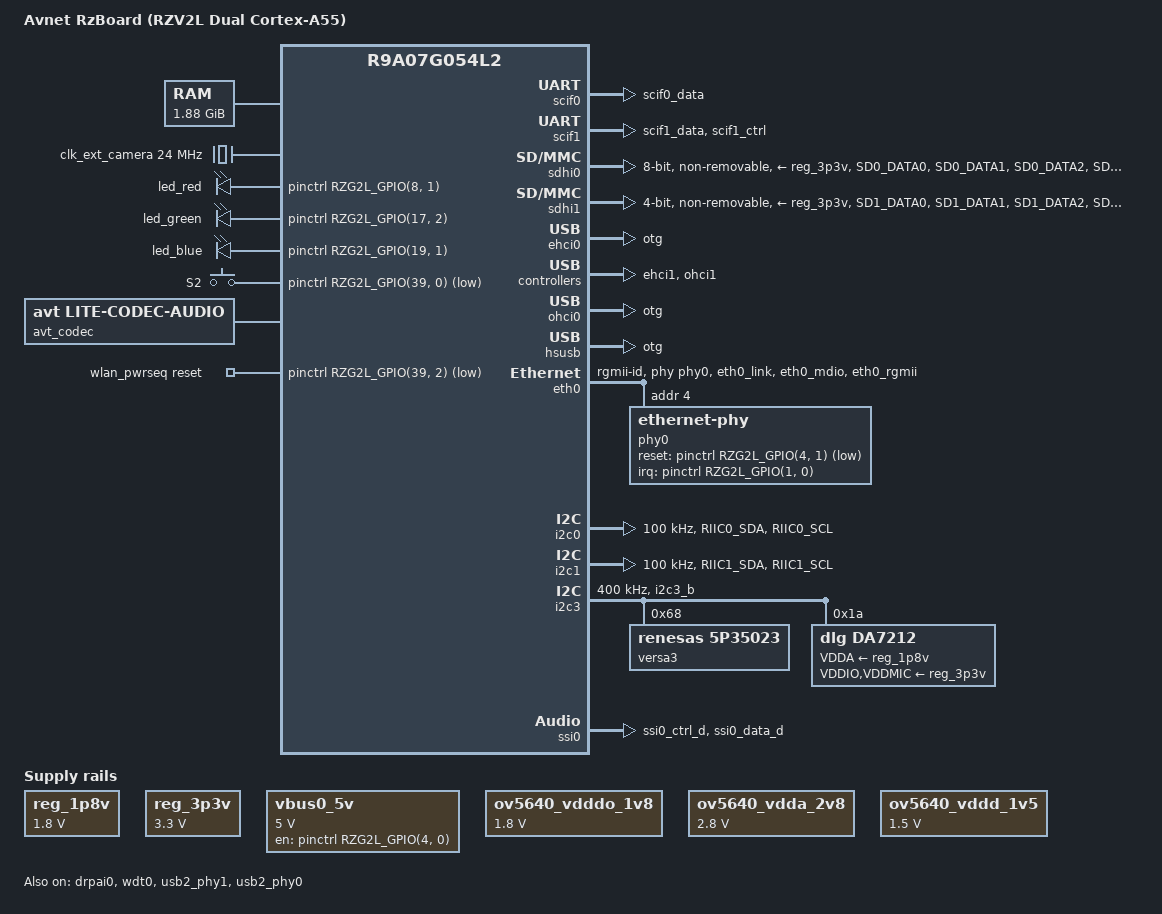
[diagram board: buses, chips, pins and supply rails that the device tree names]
// SPDX-License-Identifier: GPL-2.0
/*
 * Device Tree Source for the Avnet RzBoard (RZV2L Dual Cortex-A55)
 *
 * Copyright (C) 2022 Avnet Corp.
 */

/dts-v1/;

#include "r9a07g054l2.dtsi"
#include <dt-bindings/pinctrl/pinctrl-rzg2l.h>
#include <dt-bindings/gpio/gpio.h>
#include <dt-bindings/input/input.h>

/ {
	model = "Avnet RzBoard (RZV2L Dual Cortex-A55)";
	compatible = "avnet,rzboard", "renesas,r9a07g054l2";

	aliases {
		i2c0 = &i2c0;
		serial0 = &scif0; /* console */
		serial1 = &scif1; /* BLE module */
	};

	chosen {
		bootargs = "ignore_loglevel";
		stdout-path = "serial0:115200n8";
	};

	memory@48000000 {
		device_type = "memory";
		/* first 128MB is reserved for secure area. */
		reg = <0x0 0x48000000 0x0 0x78000000>;
	};

	reserved-memory {
		#address-cells = <2>;
		#size-cells = <2>;
		ranges;

		reserved: linux,cma@58000000 {
			compatible = "shared-dma-pool";
			linux,cma-default;
			reusable;
			reg = <0x0 0x58000000 0x0 0x10000000>;
		};

		mmp_reserved: linux,multimedia {
			compatible = "shared-dma-pool";
			reusable;
			reg = <0x00000000 0x68000000 0x0 0x8000000>;
		};

		/* device specific region for contiguous allocations */
		drp_reserved: DRP-AI {
			reusable;
			reg = <0x0 0x70000000 0x0 0x10000000>;
		};

		image_buf0: image_buf@0 {
			compatible = "shared-dma-pool";
			reusable;
			reg = <0x0 0x80000000 0x0 0x02000000>;
			label = "image_buf0";
		};
	};

	mmngr {
		compatible = "renesas,mmngr";
		memory-region = <&mmp_reserved>;
	};

	mmngrbuf {
		compatible = "renesas,mmngrbuf";
	};

	vspm_if {
		compatible = "renesas,vspm_if";
	};

	udmabuf@0 {
		compatible = "ikwzm,u-dma-buf";
		device-name = "udmabuf0";
		minor-number = <0>;
		size = <0x2000000>; /* 32MiB */
		dma-coherent;
		memory-region = <&image_buf0>;
	};

	reg_1p8v: regulator0 {
		compatible = "regulator-fixed";
		regulator-name = "fixed-1.8V";
		regulator-min-microvolt = <1800000>;
		regulator-max-microvolt = <1800000>;
		regulator-boot-on;
		regulator-always-on;
	};

	reg_3p3v: regulator1 {
		compatible = "regulator-fixed";
		regulator-name = "fixed-3.3V";
		regulator-min-microvolt = <3300000>;
		regulator-max-microvolt = <3300000>;
		regulator-boot-on;
		regulator-always-on;
	};

	vbus0_5v: regulator-vbus0-usb {
		compatible = "regulator-fixed";
		regulator-name = "USB2_VBUS0";
		regulator-min-microvolt = <5000000>;
		regulator-max-microvolt = <5000000>;
		gpios = <&pinctrl RZG2L_GPIO(4, 0) GPIO_ACTIVE_HIGH>;
		enable-active-high;
		startup-delay-us = <160000>;
		regulator-always-on;
	};

	x1_clk: x1-clock {
		compatible = "fixed-clock";
		#clock-cells = <0>;
		clock-frequency = <24000000>;
	};

	clk_ext_camera: clk_ext_camera {
		compatible = "fixed-clock";
		#clock-cells = <0>;
		clock-frequency = <24000000>;
	};

	ov5640_vdddo_1v8: 1p8v {
		compatible = "regulator-fixed";
		regulator-name = "camera_vdddo";
		regulator-min-microvolt = <1800000>;
		regulator-max-microvolt = <1800000>;
		regulator-always-on;
	};

	ov5640_vdda_2v8: 2p8v {
		compatible = "regulator-fixed";
		regulator-name = "camera_vdda";
		regulator-min-microvolt = <2800000>;
		regulator-max-microvolt = <2800000>;
		regulator-always-on;
	};

	ov5640_vddd_1v5: 1p5v {
		compatible = "regulator-fixed";
		regulator-name = "camera_vddd";
		regulator-min-microvolt = <1500000>;
		regulator-max-microvolt = <1500000>;
		regulator-always-on;
	};

	leds {
		compatible = "gpio-leds";
		led_red {
			gpios = <&pinctrl RZG2L_GPIO(8, 1) GPIO_ACTIVE_HIGH>;
			default-state = "off";
		};

		led_green {
			gpios = <&pinctrl RZG2L_GPIO(17, 2) GPIO_ACTIVE_HIGH>;
			default-state = "off";
		};

		led_blue {
			gpios = <&pinctrl RZG2L_GPIO(19, 1) GPIO_ACTIVE_HIGH>;
			linux,default-trigger = "heartbeat";
			default-state = "on";
		};
	};

	/* RZ/V2L don't support both falling-edge and rising-edge detect */
	keys {
		compatible = "gpio-keys";
		user_key {
			label = "S2";
			linux,code = <KEY_1>;
			debounce-interval = <20>;
			gpios = <&pinctrl RZG2L_GPIO(39, 0) GPIO_ACTIVE_LOW>;
		};
	};

	sound-da7212 {
		compatible = "simple-audio-card";
		simple-audio-card,name = "audio-da7212";
		simple-audio-card,format = "i2s";
		simple-audio-card,bitclock-master = <&cpu_dai>;
		simple-audio-card,frame-master = <&cpu_dai>;

		simple-audio-card,widgets =
			"Microphone", "Microphone Jack",
			"Headphone", "Headphone Jack";
		simple-audio-card,routing =
			"MIC1", "Microphone Jack",
			"Microphone Jack", "Mic Bias 1",
			"Headphone Jack", "HPL",
			"Headphone Jack", "HPR";

		cpu_dai: simple-audio-card,cpu {
			sound-dai = <&ssi0>;
		};

		codec_dai: simple-audio-card,codec {
			sound-dai = <&da7212>;
		};
	};

	hdmi_audio: graph_sound_card {
		compatible = "audio-graph-card";
		label = "avt-sound-card";
		dais = <&ssi1>;
	};

	hdmi_out: hdmi-out {
		compatible = "hdmi-connector";
		label = "micro-HDMI";
		type = "d";
		status = "disabled";

		port {
			hdmi_con_out: endpoint {
				remote-endpoint = <&it6161_out>;
			};
		};
	};

	avt_codec: avt_codec {
		compatible = "avt,lite-codec-audio";
		#sound-dai-cells = <1>;
	};

	lite_audio: sound-lite-codec {
		compatible = "simple-audio-card";
		simple-audio-card,name = "lite-codec";
		simple-audio-card,format = "i2s";
		simple-audio-card,bitclock-inversion;
		simple-audio-card,frame-master = <&cpu>;
		simple-audio-card,bitclock-master = <&cpu>;
		status = "disabled";

		cpu: simple-audio-card,cpu {
			sound-dai = <&ssi3>;
			dai-tdm-slot-num = <2>;
			dai-tdm-slot-width = <16>;
		};

		simple-audio-card,codec {
			sound-dai = <&avt_codec 1>;
		};
	};

	wlan_pwrseq: wlan_pwrseq {
		compatible = "mmc-pwrseq-simple";
		reset-gpios = <&pinctrl RZG2L_GPIO(39, 2) GPIO_ACTIVE_LOW>;	 /* WLAN PMIC_EN */
	};
};

&xinclk {
	clock-frequency = <24000000>;
};

&audio_clk1{
	clock-frequency = <11289600>;
};

&audio_clk2{
	clock-frequency = <12288000>;
};

&drpai0 {
	memory-region = <&drp_reserved>;
	linux-memory-region = < &{/memory@48000000} >;
	status = "okay";
};

&wdt0 {
	status = "okay";
};

&scif0 {
	pinctrl-0 = <&scif0_pins>;
	pinctrl-names = "default";
	status = "okay";
};

&scif1 {
	pinctrl-0 = <&scif1_pins>;
	pinctrl-names = "default";
	uart-has-rtscts;
	status = "okay";
};

/* for both 16Gb eMMC and external uSD card */
&sdhi0 {
	pinctrl-0 = <&sdhi0_emmc_pins>;
	pinctrl-1 = <&sdhi0_emmc_pins>;
	pinctrl-names = "default", "state_uhs";

	vmmc-supply = <&reg_3p3v>;
	vqmmc-supply = <&reg_1p8v>;
	bus-width = <8>;
	non-removable;
	fixed-emmc-driver-type = <1>;
	status = "okay";
};

/*wifi*/
&sdhi1 {
	pinctrl-0 = <&sdhi1_pins>;
	pinctrl-1 = <&sdhi1_pins_uhs>;
	pinctrl-names = "default", "state_uhs";

	vmmc-supply = <&reg_3p3v>;
	max-frequency = <25000000>;
	pm-ignore-notify;
	keep-power-in-suspend;
	non-removable;
	cap-power-off-card;
	bus-width = <4>;
	mmc-pwrseq = <&wlan_pwrseq>;
	status = "okay";
};

&ehci0 {
	dr_mode = "otg";
	status = "okay";
};

&ehci1 {
	status = "okay";
};

&ohci1 {
	status = "okay";
};

&ohci0 {
	dr_mode = "otg";
	status = "okay";
};

&hsusb {
	dr_mode = "otg";
	status = "okay";
};

&usb2_phy1 {
	pinctrl-0 = <&usb1_pins>;
	pinctrl-names = "default";
	status = "okay";
};

&usb2_phy0 {
	pinctrl-0 = <&usb0_pins>;
	pinctrl-names = "default";

	vbus-supply = <&vbus0_5v>;
	status = "okay";
};

&eth0 {
	pinctrl-0 = <&eth0_pins>;
	pinctrl-names = "default";
	phy-handle = <&phy0>;
	phy-mode = "rgmii-id";
	status = "okay";

	phy0: ethernet-phy@4 {
		reg = <4>;
		reset-gpios = <&pinctrl RZG2L_GPIO(4, 1) GPIO_ACTIVE_LOW>;
		interrupt-parent = <&pinctrl>;
		interrupts = <RZG2L_GPIO(1, 0) IRQ_TYPE_EDGE_FALLING>;
	};
};

&csi2 {
	status = "disabled";
	ports {
		port {
			csi2_in: endpoint {
				clock-lanes = <0>;
				data-lanes = <1 2>;
				remote-endpoint = <&ov5640_to_csi>;
			};
		};
	};
};

&i2c0 {
	pinctrl-0 = <&i2c0_pins>;
	pinctrl-names = "default";

	clock-frequency = <100000>;
	status = "okay";

	ov5640: camera@3c {
		compatible = "ovti,ov5640";
		reg = <0x3c>;
		status = "disabled";

		clock-names = "xclk";
		clocks = <&clk_ext_camera>;
		clock-frequency = <24000000>;
		DOVDD-supply = <&ov5640_vdddo_1v8>;
		DVDD-supply = <&ov5640_vddd_1v5>;
		AVDD-supply = <&ov5640_vdda_2v8>;

		powerdown-gpios = <&pinctrl RZG2L_GPIO(2, 0) GPIO_ACTIVE_LOW>;
		reset-gpios = <&pinctrl RZG2L_GPIO(40, 2) GPIO_ACTIVE_HIGH>;

		port {
			ov5640_to_csi: endpoint {
				clock-lanes = <0>;
				data-lanes = <1 2>;
				remote-endpoint = <&csi2_in>;
			};
		};
	};
};

&i2c1 {
	pinctrl-0 = <&i2c1_pins>;
	pinctrl-names = "default";
	clock-frequency = <100000>;
	status = "okay";

	it6161: hdmi@6c {
		compatible = "ite,it6161";
		reg = <0x6c>;
		status = "disabled";

		it6161-addr-hdmi-tx = <0x4c>;
		interrupt-parent = <&pinctrl>;
		interrupts = <RZG2L_GPIO(1, 1) IRQ_TYPE_NONE>;

		switch-gpios = <&pinctrl RZG2L_GPIO(43, 0) GPIO_ACTIVE_LOW>;
		reset-gpios = <&pinctrl RZG2L_GPIO(19, 0) GPIO_ACTIVE_LOW>;

		#sound-dai-cells = <0>;
		ports {
			#address-cells = <1>;
			#size-cells = <0>;

			port@1 {
				reg = <1>;
				it6161_out: endpoint@1 {
					remote-endpoint = <&hdmi_con_out>;
				};
			};

			port@2 {
				reg = <2>;
				codec_endpoint: endpoint {
					remote-endpoint = <&i2s2_cpu_endpoint>;
				};
			};
		};
	};
};

&i2c3 {
	pinctrl-0 = <&i2c3_pins>;
	pinctrl-names = "default";
	clock-frequency = <400000>;
	status = "okay";

	versa3: versa3@68 {
		compatible = "renesas,5p35023";
		reg = <0x68>;
		#clock-cells = <1>;
		clocks = <&x1_clk>;
		clock-names = "x1";
		assigned-clocks = <&versa3 0>,
					<&versa3 1>,
					<&versa3 2>,
					<&versa3 3>,
					<&versa3 4>,
					<&versa3 5>;
		assigned-clock-rates =	<12288000>, <25000000>,
					<12000000>, <11289600>,
					<11289600>, <24000000>;
		clock-divider-read-only = <1>, <1>, <1>, <1>, <1>;
		clock-flags = <2176>, <2176>, <2176>, <2052>, <2176>, <2048>;
	};

	da7212: codec@1a {
		compatible = "dlg,da7212";
		#sound-dai-cells = <0>;
		reg = <0x1a>;
		dlg,micbias1-lvl = <2500>;
		dlg,micbias2-lvl = <2500>;
		VDDA-supply = <&reg_1p8v>;
		VDDIO-supply = <&reg_3p3v>;
		VDDMIC-supply = <&reg_3p3v>;
		clocks = <&versa3 3>;
		clock-names = "mclk";
	};
};

&ssi0 {
	pinctrl-0 = <&ssi0_pins>;
	pinctrl-names = "default";
	#sound-dai-cells = <0>;

	dmas = <&dma0 0x9501>,
		<&dma0 0x9502>;
	dma-names = "tx", "rx";
	status = "okay";
};

&ssi1 {
	pinctrl-0 = <&ssi1_pins>;
	pinctrl-names = "default";
	#sound-dai-cells = <0>;
	status = "disabled";

	dmas = <&dma0 0x9601>, <&dma0 0x9602>;
	dma-names = "tx", "rx";

	ports {
		i2s2_port0: port@0 {
			i2s2_cpu_endpoint: endpoint {
				remote-endpoint = <&codec_endpoint>;
				dai-format = "i2s";
			};
		};
	};
};

&ssi3 {
	pinctrl-0 = <&ssi3_pins>;
	pinctrl-names = "default";
	status = "disabled";

	#sound-dai-cells = <0>;
	dmas = <&dma0 0x9801>, <&dma0 0x9802>;
	dma-names = "tx", "rx";
};

&pinctrl {
	pinctrl-0 = <&sound_clk_pins>;
	pinctrl-names = "default";

	sound_clk_pins: sound_clk {
		pins = "AUDIO_CLK1", "AUDIO_CLK2";
		input-enable;
	};

	scif0_pins: scif0 {
		groups = "scif0_data";
		function = "scif0";
	};

	scif1_pins: scif1 {
		groups = "scif1_data", "scif1_ctrl";
		function = "scif1";
	};

	i2c0_pins: i2c0 {
		pins = "RIIC0_SDA", "RIIC0_SCL";
		input-enable;
	};

	i2c1_pins: i2c1 {
		pins = "RIIC1_SDA", "RIIC1_SCL";
		input-enable;
	};

	i2c3_pins: i2c3 {
		groups = "i2c3_b";
		function = "i2c3";
	};

	eth0_pins: eth0 {
		groups = "eth0_link", "eth0_mdio", "eth0_rgmii";
		function = "eth0";
	};

	/* USB Channel 0 */
	usb0_pins: usb0 {
		groups = "usb0_a";
		function = "usb0";
	};

	/* USB Channel 1 */
	usb1_pins: usb1 {
		groups = "usb1_d";
		function = "usb1";
	};

	ssi0_pins: ssi0 {
		groups = "ssi0_ctrl_d", "ssi0_data_d";
		function = "ssi0";
	};

	ssi1_pins: ssi1 {
		groups = "ssi1_ctrl_d", "ssi1_data_d";
		function = "ssi1";
	};

	ssi3_pins: ssi3 {
		groups = "ssi3_ctrl", "ssi3_data";
		function = "ssi3";
	};

	sdhi0_emmc_pins: sd0emmc {
		sd0_emmc_data {
			pins = "SD0_DATA0", "SD0_DATA1", "SD0_DATA2", "SD0_DATA3",
					"SD0_DATA4", "SD0_DATA5", "SD0_DATA6", "SD0_DATA7";
			power-source = <1800>;
		};

		sd0_emmc_ctrl {
			pins = "SD0_CLK", "SD0_CMD", "SD0_RST_N";
			power-source = <1800>;
		};
	};

	sdhi1_pins: sd1 {
		sd1_data {
			pins = "SD1_DATA0", "SD1_DATA1", "SD1_DATA2", "SD1_DATA3";
			power-source = <3300>;
		};

		sd1_ctrl {
			pins = "SD1_CLK", "SD1_CMD";
			power-source = <3300>;
		};
	};

	sdhi1_pins_uhs: sd1_uhs {
		sd1_data_uhs {
			pins = "SD1_DATA0", "SD1_DATA1", "SD1_DATA2", "SD1_DATA3";
			power-source = <1800>;
		};

		sd1_ctrl_uhs {
			pins = "SD1_CLK", "SD1_CMD";
			power-source = <1800>;
		};
	};
};
